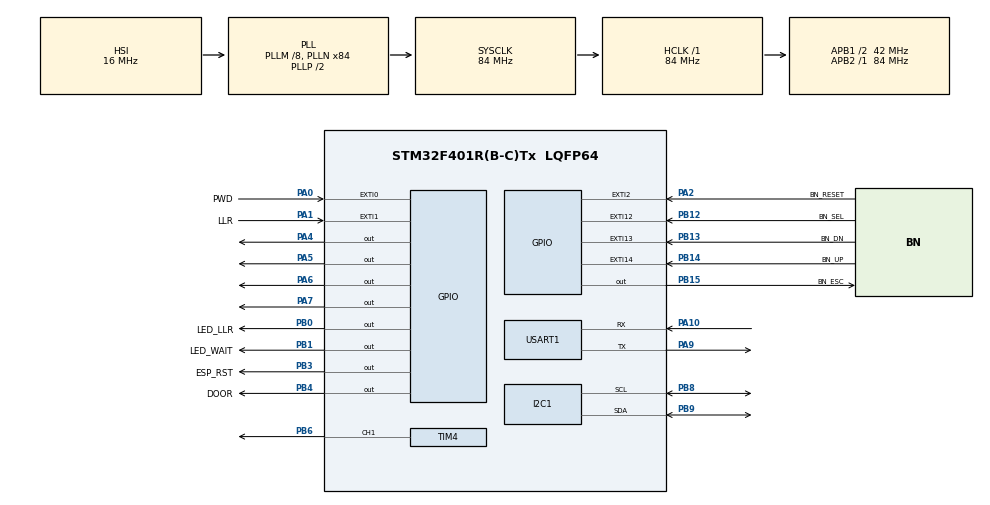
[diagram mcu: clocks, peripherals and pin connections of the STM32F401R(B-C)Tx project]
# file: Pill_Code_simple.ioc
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Mcu.Family=STM32F4
Mcu.Name=STM32F401R(B-C)Tx
Mcu.Package=LQFP64
NVIC.EXTI0_IRQn=true\:0\:0\:false\:false\:true\:true\:true\:true
NVIC.PriorityGroup=NVIC_PRIORITYGROUP_4
NVIC.RTC_Alarm_IRQn=true\:0\:0\:false\:false\:true\:true\:true\:true
NVIC.TIM3_IRQn=true\:0\:0\:false\:false\:true\:true\:true\:true
NVIC.TIM5_IRQn=true\:0\:0\:false\:false\:true\:true\:true\:true
NVIC.USART1_IRQn=true\:0\:0\:false\:false\:true\:true\:true\:true
PA0-WKUP.GPIO_Label=PWD
PA0-WKUP.Signal=GPXTI0
PA1.GPIO_Label=LLR
PA1.Signal=GPXTI1
PA10.Mode=Asynchronous
PA10.Signal=USART1_RX
PA13.Mode=Serial_Wire
PA13.Signal=SYS_JTMS-SWDIO
PA14.Mode=Serial_Wire
PA14.Signal=SYS_JTCK-SWCLK
PA2.GPIO_Label=BN_RESET
PA2.GPIO_ModeDefaultEXTI=GPIO_MODE_IT_FALLING
PA2.GPIO_PuPd=GPIO_PULLUP
PA2.Signal=GPXTI2
PA4.Signal=GPIO_Output
PA5.Signal=GPIO_Output
PA6.Signal=GPIO_Output
PA7.Signal=GPIO_Output
PA9.Mode=Asynchronous
PA9.Signal=USART1_TX
PB0.GPIO_Label=LED_LLR
PB0.Signal=GPIO_Output
PB1.GPIO_Label=LED_WAIT
PB1.Signal=GPIO_Output
PB12.GPIO_Label=BN_SEL
PB12.Signal=GPXTI12
PB13.GPIO_Label=BN_DN
PB13.Signal=GPXTI13
PB14.GPIO_Label=BN_UP
PB14.Signal=GPXTI14
PB15.GPIO_Label=BN_ESC
PB15.Signal=GPIO_Output
PB3.GPIO_Label=ESP_RST
PB3.Signal=GPIO_Output
PB4.GPIO_Label=DOOR
PB4.Signal=GPIO_Output
PB6.Signal=S_TIM4_CH1
PB8.Mode=I2C
PB8.Signal=I2C1_SCL
PB9.Mode=I2C
PB9.Signal=I2C1_SDA
PC14-OSC32_IN.Mode=LSE-External-Oscillator
PC14-OSC32_IN.Signal=RCC_OSC32_IN
PC15-OSC32_OUT.Mode=LSE-External-Oscillator
PC15-OSC32_OUT.Signal=RCC_OSC32_OUT
PH0\ -\ OSC_IN.Mode=HSE-External-Oscillator
PH0\ -\ OSC_IN.Signal=RCC_OSC_IN
PH1\ -\ OSC_OUT.Mode=HSE-External-Oscillator
PH1\ -\ OSC_OUT.Signal=RCC_OSC_OUT
ProjectManager.HeapSize=0x200
ProjectManager.StackSize=0x400
ProjectManager.TargetToolchain=STM32CubeIDE
RCC.48MHZClocksFreq_Value=42000000
RCC.AHBFreq_Value=84000000
RCC.APB1CLKDivider=RCC_HCLK_DIV2
RCC.APB1Freq_Value=42000000
RCC.APB1TimFreq_Value=84000000
RCC.APB2Freq_Value=84000000
RCC.APB2TimFreq_Value=84000000
RCC.CortexFreq_Value=84000000
RCC.HCLKFreq_Value=84000000
RCC.HSE_VALUE=25000000
RCC.HSI_VALUE=16000000
RCC.PLLM=8
RCC.PLLN=84
RCC.RCC_RTC_Clock_Source=RCC_RTCCLKSOURCE_LSE
RCC.RCC_RTC_Clock_SourceVirtual=RCC_RTCCLKSOURCE_LSE
RCC.SYSCLKFreq_VALUE=84000000
RCC.SYSCLKSource=RCC_SYSCLKSOURCE_PLLCLK
RCC.VCOOutputFreq_Value=168000000
RTC.Alarm=RTC_ALARM_A
RTC.HourFormat=RTC_HOURFORMAT_12
RTC.Hours=1
RTC.TimeFormat=RTC_HOURFORMAT12_PM
SH.S_TIM4_CH1.0=TIM4_CH1,PWM Generation1 CH1
TIM2.Period=0xffff-1
TIM2.Prescaler=84-1
TIM3.Period=10000-1
TIM3.Prescaler=8400-1
TIM3.TIM_MasterOutputTrigger=TIM_TRGO_UPDATE
TIM4.Channel-PWM\ Generation1\ CH1=TIM_CHANNEL_1
TIM4.Period=1000-1
TIM4.Prescaler=84-1
TIM4.Pulse-PWM\ Generation1\ CH1=500-1
TIM5.Period=199
TIM5.Prescaler=7200
USART1.VirtualMode=VM_ASYNC
VP_RTC_VS_RTC_Activate.Mode=RTC_Enabled
VP_RTC_VS_RTC_Alarm_A_Intern.Mode=Alarm A
VP_RTC_VS_RTC_Calendar.Mode=RTC_Calendar
VP_TIM2_VS_ClockSourceINT.Mode=Internal
VP_TIM3_VS_ClockSourceINT.Mode=Internal
VP_TIM4_VS_ClockSourceINT.Mode=Internal
VP_TIM5_VS_ClockSourceINT.Mode=Internal
board=custom

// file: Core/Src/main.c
/* USER CODE BEGIN Header */
/**
  ******************************************************************************
  * @file           : main.c
  * @brief          : Main program body
  ******************************************************************************
  * @attention
  *
  * Copyright (c) 2024 STMicroelectronics.
  * All rights reserved.
  *
  * This software is licensed under terms that can be found in the LICENSE file
  * in the root directory of this software component.
  * If no LICENSE file comes with this software, it is provided AS-IS.
  *
  ******************************************************************************
  */
/* USER CODE END Header */
#include "main.h"

/* USER CODE BEGIN Includes */
#include <string.h>
#include "i2c-lcd.h"
#include "ESP8266.h"
#include "stdio.h"
#include <stdlib.h>
/* USER CODE END Includes */

I2C_HandleTypeDef hi2c1;

RTC_HandleTypeDef hrtc;

TIM_HandleTypeDef htim2;
TIM_HandleTypeDef htim3;
TIM_HandleTypeDef htim4;
TIM_HandleTypeDef htim5;

UART_HandleTypeDef huart1;

void SystemClock_Config(void);
static void MX_GPIO_Init(void);
static void MX_I2C1_Init(void);
static void MX_RTC_Init(void);
static void MX_TIM2_Init(void);
static void MX_TIM4_Init(void);
static void MX_USART1_UART_Init(void);
static void MX_TIM3_Init(void);
static void MX_TIM5_Init(void);

/* USER CODE BEGIN 0 */
int alarmflag;

/* USER CODE END 0 */

int main(void)
{

  /* MCU Configuration--------------------------------------------------------*/

  /* Reset of all peripherals, Initializes the Flash interface and the Systick. */
  HAL_Init();

  /* Configure the system clock */
  SystemClock_Config();

  /* Initialize all configured peripherals */
  MX_GPIO_Init();
  MX_I2C1_Init();
  MX_RTC_Init();
  MX_TIM2_Init();
  MX_TIM4_Init();
  MX_USART1_UART_Init();
  MX_TIM3_Init();
  MX_TIM5_Init();
  /* USER CODE BEGIN 2 */

  usernumber = 0;
  flag4door=0;
  alarmflag=0;
  rpthrs=0;
  messageHandlerFlag = 0;
  Buzz_ring();
  HAL_Delay(100);
  lcd_init();
  HAL_Delay(100);
  HAL_TIM_Base_Start_IT(&htim2);//for stepper
  HAL_Delay(100);
  HAL_TIM_Base_Start_IT(&htim5);//for wifi
  HAL_Delay(100);
  stepper_step_angle(90, 1, 12);

  HAL_Delay(100);
  ESP_Server_Init("192.168.4.1");
  __HAL_UART_ENABLE_IT(&huart1, UART_IT_RXNE);
  HAL_Delay(100);
  Buzz_stop();
  HAL_Delay(100);
  HAL_TIM_Base_Start_IT(&htim3);
  /* USER CODE END 2 */

  /* Infinite loop */
  /* USER CODE BEGIN WHILE */
  while (1)
  {
	  if(messageHandlerFlag)
	  {
		  messageHandler();
		  messageHandlerFlag = 0;
	  }
	  if(alarmflag==1){

	  Dataandexecution();
	  alarmflag=0;
	  }
    /* USER CODE END WHILE */

  }
}

void SystemClock_Config(void)
{
  RCC_OscInitTypeDef RCC_OscInitStruct = {0};
  RCC_ClkInitTypeDef RCC_ClkInitStruct = {0};

  /** Configure the main internal regulator output voltage
  */
  __HAL_RCC_PWR_CLK_ENABLE();
  __HAL_PWR_VOLTAGESCALING_CONFIG(PWR_REGULATOR_VOLTAGE_SCALE2);

  /** Initializes the RCC Oscillators according to the specified parameters
  * in the RCC_OscInitTypeDef structure.
  */
  RCC_OscInitStruct.OscillatorType = RCC_OSCILLATORTYPE_HSI|RCC_OSCILLATORTYPE_LSE;
  RCC_OscInitStruct.LSEState = RCC_LSE_ON;
  RCC_OscInitStruct.HSIState = RCC_HSI_ON;
  RCC_OscInitStruct.HSICalibrationValue = RCC_HSICALIBRATION_DEFAULT;
  RCC_OscInitStruct.PLL.PLLState = RCC_PLL_ON;
  RCC_OscInitStruct.PLL.PLLSource = RCC_PLLSOURCE_HSI;
  RCC_OscInitStruct.PLL.PLLM = 8;
  RCC_OscInitStruct.PLL.PLLN = 84;
  RCC_OscInitStruct.PLL.PLLP = RCC_PLLP_DIV2;
  RCC_OscInitStruct.PLL.PLLQ = 4;
  if (HAL_RCC_OscConfig(&RCC_OscInitStruct) != HAL_OK)
  {
    Error_Handler();
  }

  /** Initializes the CPU, AHB and APB buses clocks
  */
  RCC_ClkInitStruct.ClockType = RCC_CLOCKTYPE_HCLK|RCC_CLOCKTYPE_SYSCLK
                              |RCC_CLOCKTYPE_PCLK1|RCC_CLOCKTYPE_PCLK2;
  RCC_ClkInitStruct.SYSCLKSource = RCC_SYSCLKSOURCE_PLLCLK;
  RCC_ClkInitStruct.AHBCLKDivider = RCC_SYSCLK_DIV1;
  RCC_ClkInitStruct.APB1CLKDivider = RCC_HCLK_DIV2;
  RCC_ClkInitStruct.APB2CLKDivider = RCC_HCLK_DIV1;

  if (HAL_RCC_ClockConfig(&RCC_ClkInitStruct, FLASH_LATENCY_2) != HAL_OK)
  {
    Error_Handler();
  }
}

static void MX_I2C1_Init(void)
{

  hi2c1.Instance = I2C1;
  hi2c1.Init.ClockSpeed = 100000;
  hi2c1.Init.DutyCycle = I2C_DUTYCYCLE_2;
  hi2c1.Init.OwnAddress1 = 0;
  hi2c1.Init.AddressingMode = I2C_ADDRESSINGMODE_7BIT;
  hi2c1.Init.DualAddressMode = I2C_DUALADDRESS_DISABLE;
  hi2c1.Init.OwnAddress2 = 0;
  hi2c1.Init.GeneralCallMode = I2C_GENERALCALL_DISABLE;
  hi2c1.Init.NoStretchMode = I2C_NOSTRETCH_DISABLE;
  if (HAL_I2C_Init(&hi2c1) != HAL_OK)
  {
    Error_Handler();
  }

}

static void MX_RTC_Init(void)
{

  RTC_TimeTypeDef sTime = {0};
  RTC_DateTypeDef sDate = {0};
  RTC_AlarmTypeDef sAlarm = {0};

  /** Initialize RTC Only
  */
  hrtc.Instance = RTC;
  hrtc.Init.HourFormat = RTC_HOURFORMAT_12;
  hrtc.Init.AsynchPrediv = 127;
  hrtc.Init.SynchPrediv = 255;
  hrtc.Init.OutPut = RTC_OUTPUT_DISABLE;
  hrtc.Init.OutPutPolarity = RTC_OUTPUT_POLARITY_HIGH;
  hrtc.Init.OutPutType = RTC_OUTPUT_TYPE_OPENDRAIN;
  if (HAL_RTC_Init(&hrtc) != HAL_OK)
  {
    Error_Handler();
  }

  /** Initialize RTC and set the Time and Date
  */
  sTime.Hours = 0x1;
  sTime.Minutes = 0x0;
  sTime.Seconds = 0x0;
  sTime.TimeFormat = RTC_HOURFORMAT12_PM;
  sTime.DayLightSaving = RTC_DAYLIGHTSAVING_NONE;
  sTime.StoreOperation = RTC_STOREOPERATION_RESET;
  if (HAL_RTC_SetTime(&hrtc, &sTime, RTC_FORMAT_BCD) != HAL_OK)
  {
    Error_Handler();
  }
  sDate.WeekDay = RTC_WEEKDAY_MONDAY;
  sDate.Month = RTC_MONTH_JANUARY;
  sDate.Date = 0x1;
  sDate.Year = 0x0;

  if (HAL_RTC_SetDate(&hrtc, &sDate, RTC_FORMAT_BCD) != HAL_OK)
  {
    Error_Handler();
  }

  /** Enable the Alarm A
  */
  sAlarm.AlarmTime.Hours = 0x1;
  sAlarm.AlarmTime.Minutes = 0x0;
  sAlarm.AlarmTime.Seconds = 0x0;
  sAlarm.AlarmTime.SubSeconds = 0x0;
  sAlarm.AlarmTime.TimeFormat = RTC_HOURFORMAT12_PM;
  sAlarm.AlarmTime.DayLightSaving = RTC_DAYLIGHTSAVING_NONE;
  sAlarm.AlarmTime.StoreOperation = RTC_STOREOPERATION_RESET;
  sAlarm.AlarmMask = RTC_ALARMMASK_NONE;
  sAlarm.AlarmSubSecondMask = RTC_ALARMSUBSECONDMASK_ALL;
  sAlarm.AlarmDateWeekDaySel = RTC_ALARMDATEWEEKDAYSEL_DATE;
  sAlarm.AlarmDateWeekDay = 0x1;
  sAlarm.Alarm = RTC_ALARM_A;
  if (HAL_RTC_SetAlarm_IT(&hrtc, &sAlarm, RTC_FORMAT_BCD) != HAL_OK)
  {
    Error_Handler();
  }

}

static void MX_TIM2_Init(void)
{

  TIM_ClockConfigTypeDef sClockSourceConfig = {0};
  TIM_MasterConfigTypeDef sMasterConfig = {0};

  htim2.Instance = TIM2;
  htim2.Init.Prescaler = 84-1;
  htim2.Init.CounterMode = TIM_COUNTERMODE_UP;
  htim2.Init.Period = 0xffff-1;
  htim2.Init.ClockDivision = TIM_CLOCKDIVISION_DIV1;
  htim2.Init.AutoReloadPreload = TIM_AUTORELOAD_PRELOAD_DISABLE;
  if (HAL_TIM_Base_Init(&htim2) != HAL_OK)
  {
    Error_Handler();
  }
  sClockSourceConfig.ClockSource = TIM_CLOCKSOURCE_INTERNAL;
  if (HAL_TIM_ConfigClockSource(&htim2, &sClockSourceConfig) != HAL_OK)
  {
    Error_Handler();
  }
  sMasterConfig.MasterOutputTrigger = TIM_TRGO_RESET;
  sMasterConfig.MasterSlaveMode = TIM_MASTERSLAVEMODE_DISABLE;
  if (HAL_TIMEx_MasterConfigSynchronization(&htim2, &sMasterConfig) != HAL_OK)
  {
    Error_Handler();
  }

}

static void MX_TIM3_Init(void)
{

  TIM_ClockConfigTypeDef sClockSourceConfig = {0};
  TIM_MasterConfigTypeDef sMasterConfig = {0};

  htim3.Instance = TIM3;
  htim3.Init.Prescaler = 8400-1;
  htim3.Init.CounterMode = TIM_COUNTERMODE_UP;
  htim3.Init.Period = 10000-1;
  htim3.Init.ClockDivision = TIM_CLOCKDIVISION_DIV1;
  htim3.Init.AutoReloadPreload = TIM_AUTORELOAD_PRELOAD_DISABLE;
  if (HAL_TIM_Base_Init(&htim3) != HAL_OK)
  {
    Error_Handler();
  }
  sClockSourceConfig.ClockSource = TIM_CLOCKSOURCE_INTERNAL;
  if (HAL_TIM_ConfigClockSource(&htim3, &sClockSourceConfig) != HAL_OK)
  {
    Error_Handler();
  }
  sMasterConfig.MasterOutputTrigger = TIM_TRGO_UPDATE;
  sMasterConfig.MasterSlaveMode = TIM_MASTERSLAVEMODE_DISABLE;
  if (HAL_TIMEx_MasterConfigSynchronization(&htim3, &sMasterConfig) != HAL_OK)
  {
    Error_Handler();
  }

}

static void MX_TIM4_Init(void)
{

  TIM_ClockConfigTypeDef sClockSourceConfig = {0};
  TIM_MasterConfigTypeDef sMasterConfig = {0};
  TIM_OC_InitTypeDef sConfigOC = {0};

  htim4.Instance = TIM4;
  htim4.Init.Prescaler = 84-1;
  htim4.Init.CounterMode = TIM_COUNTERMODE_UP;
  htim4.Init.Period = 1000-1;
  htim4.Init.ClockDivision = TIM_CLOCKDIVISION_DIV1;
  htim4.Init.AutoReloadPreload = TIM_AUTORELOAD_PRELOAD_DISABLE;
  if (HAL_TIM_Base_Init(&htim4) != HAL_OK)
  {
    Error_Handler();
  }
  sClockSourceConfig.ClockSource = TIM_CLOCKSOURCE_INTERNAL;
  if (HAL_TIM_ConfigClockSource(&htim4, &sClockSourceConfig) != HAL_OK)
  {
    Error_Handler();
  }
  if (HAL_TIM_PWM_Init(&htim4) != HAL_OK)
  {
    Error_Handler();
  }
  sMasterConfig.MasterOutputTrigger = TIM_TRGO_RESET;
  sMasterConfig.MasterSlaveMode = TIM_MASTERSLAVEMODE_DISABLE;
  if (HAL_TIMEx_MasterConfigSynchronization(&htim4, &sMasterConfig) != HAL_OK)
  {
    Error_Handler();
  }
  sConfigOC.OCMode = TIM_OCMODE_PWM1;
  sConfigOC.Pulse = 500-1;
  sConfigOC.OCPolarity = TIM_OCPOLARITY_HIGH;
  sConfigOC.OCFastMode = TIM_OCFAST_DISABLE;
  if (HAL_TIM_PWM_ConfigChannel(&htim4, &sConfigOC, TIM_CHANNEL_1) != HAL_OK)
  {
    Error_Handler();
  }
  HAL_TIM_MspPostInit(&htim4);

}

static void MX_TIM5_Init(void)
{

  TIM_ClockConfigTypeDef sClockSourceConfig = {0};
  TIM_MasterConfigTypeDef sMasterConfig = {0};

  htim5.Instance = TIM5;
  htim5.Init.Prescaler = 7200;
  htim5.Init.CounterMode = TIM_COUNTERMODE_UP;
  htim5.Init.Period = 199;
  htim5.Init.ClockDivision = TIM_CLOCKDIVISION_DIV1;
  htim5.Init.AutoReloadPreload = TIM_AUTORELOAD_PRELOAD_DISABLE;
  if (HAL_TIM_Base_Init(&htim5) != HAL_OK)
  {
    Error_Handler();
  }
  sClockSourceConfig.ClockSource = TIM_CLOCKSOURCE_INTERNAL;
  if (HAL_TIM_ConfigClockSource(&htim5, &sClockSourceConfig) != HAL_OK)
  {
    Error_Handler();
  }
  sMasterConfig.MasterOutputTrigger = TIM_TRGO_RESET;
  sMasterConfig.MasterSlaveMode = TIM_MASTERSLAVEMODE_DISABLE;
  if (HAL_TIMEx_MasterConfigSynchronization(&htim5, &sMasterConfig) != HAL_OK)
  {
    Error_Handler();
  }

}

static void MX_USART1_UART_Init(void)
{

  huart1.Instance = USART1;
  huart1.Init.BaudRate = 115200;
  huart1.Init.WordLength = UART_WORDLENGTH_8B;
  huart1.Init.StopBits = UART_STOPBITS_1;
  huart1.Init.Parity = UART_PARITY_NONE;
  huart1.Init.Mode = UART_MODE_TX_RX;
  huart1.Init.HwFlowCtl = UART_HWCONTROL_NONE;
  huart1.Init.OverSampling = UART_OVERSAMPLING_16;
  if (HAL_UART_Init(&huart1) != HAL_OK)
  {
    Error_Handler();
  }

}

static void MX_GPIO_Init(void)
{
  GPIO_InitTypeDef GPIO_InitStruct = {0};

  /* GPIO Ports Clock Enable */
  __HAL_RCC_GPIOC_CLK_ENABLE();
  __HAL_RCC_GPIOH_CLK_ENABLE();
  __HAL_RCC_GPIOA_CLK_ENABLE();
  __HAL_RCC_GPIOB_CLK_ENABLE();

  /*Configure GPIO pin Output Level */
  HAL_GPIO_WritePin(GPIOA, GPIO_PIN_4|GPIO_PIN_5|GPIO_PIN_6|GPIO_PIN_7, GPIO_PIN_RESET);

  /*Configure GPIO pin Output Level */
  HAL_GPIO_WritePin(GPIOB, LED_LLR_Pin|LED_WAIT_Pin|BN_ESC_Pin|ESP_RST_Pin
                          |DOOR_Pin, GPIO_PIN_RESET);

  /*Configure GPIO pins : PWD_Pin LLR_Pin */
  GPIO_InitStruct.Pin = PWD_Pin|LLR_Pin;
  GPIO_InitStruct.Mode = GPIO_MODE_IT_RISING;
  GPIO_InitStruct.Pull = GPIO_NOPULL;
  HAL_GPIO_Init(GPIOA, &GPIO_InitStruct);

  /*Configure GPIO pin : BN_RESET_Pin */
  GPIO_InitStruct.Pin = BN_RESET_Pin;
  GPIO_InitStruct.Mode = GPIO_MODE_IT_FALLING;
  GPIO_InitStruct.Pull = GPIO_PULLUP;
  HAL_GPIO_Init(BN_RESET_GPIO_Port, &GPIO_InitStruct);

  /*Configure GPIO pins : PA4 PA5 PA6 PA7 */
  GPIO_InitStruct.Pin = GPIO_PIN_4|GPIO_PIN_5|GPIO_PIN_6|GPIO_PIN_7;
  GPIO_InitStruct.Mode = GPIO_MODE_OUTPUT_PP;
  GPIO_InitStruct.Pull = GPIO_NOPULL;
  GPIO_InitStruct.Speed = GPIO_SPEED_FREQ_LOW;
  HAL_GPIO_Init(GPIOA, &GPIO_InitStruct);

  /*Configure GPIO pins : LED_LLR_Pin LED_WAIT_Pin BN_ESC_Pin ESP_RST_Pin
                           DOOR_Pin */
  GPIO_InitStruct.Pin = LED_LLR_Pin|LED_WAIT_Pin|BN_ESC_Pin|ESP_RST_Pin
                          |DOOR_Pin;
  GPIO_InitStruct.Mode = GPIO_MODE_OUTPUT_PP;
  GPIO_InitStruct.Pull = GPIO_NOPULL;
  GPIO_InitStruct.Speed = GPIO_SPEED_FREQ_LOW;
  HAL_GPIO_Init(GPIOB, &GPIO_InitStruct);

  /*Configure GPIO pins : BN_SEL_Pin BN_DN_Pin BN_UP_Pin */
  GPIO_InitStruct.Pin = BN_SEL_Pin|BN_DN_Pin|BN_UP_Pin;
  GPIO_InitStruct.Mode = GPIO_MODE_IT_RISING;
  GPIO_InitStruct.Pull = GPIO_NOPULL;
  HAL_GPIO_Init(GPIOB, &GPIO_InitStruct);

  /* EXTI interrupt init*/
  HAL_NVIC_SetPriority(EXTI0_IRQn, 0, 0);
  HAL_NVIC_EnableIRQ(EXTI0_IRQn);

}

/* USER CODE BEGIN 4 */
void HAL_RTC_AlarmAEventCallback(RTC_HandleTypeDef *hrtc)
{
	Buzz_ring();
	alarmflag=1;
}

/* USER CODE END 4 */

void Error_Handler(void)
{
  __disable_irq();
  while (1)
  {
  }
}
